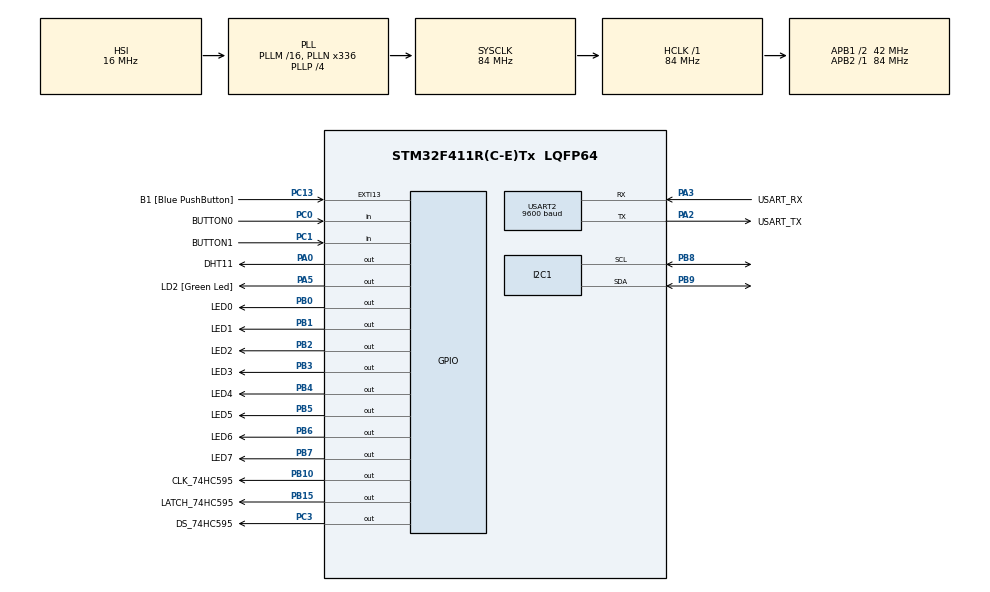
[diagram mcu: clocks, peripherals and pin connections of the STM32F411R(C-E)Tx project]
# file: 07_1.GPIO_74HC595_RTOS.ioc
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FREERTOS.Tasks01=defaultTask,24,128,StartDefaultTask,Default,NULL,Dynamic,NULL,NULL;myTask01,8,128,StartTask01,Default,NULL,Dynamic,NULL,NULL;myTask02,8,128,StartTask02,Default,NULL,Dynamic,NULL,NULL
FREERTOS.configUSE_NEWLIB_REENTRANT=1
Mcu.Family=STM32F4
Mcu.Name=STM32F411R(C-E)Tx
Mcu.Package=LQFP64
NVIC.PriorityGroup=NVIC_PRIORITYGROUP_4
NVIC.TIM1_TRG_COM_TIM11_IRQn=true\:5\:0\:false\:false\:true\:false\:false\:true
NVIC.TIM1_UP_TIM10_IRQn=true\:5\:0\:false\:false\:true\:true\:true\:true
NVIC.TimeBase=TIM1_TRG_COM_TIM11_IRQn
NVIC.TimeBaseIP=TIM11
NVIC.USART2_IRQn=true\:5\:0\:false\:false\:true\:true\:true\:true
PA0-WKUP.GPIO_Label=DHT11
PA0-WKUP.Signal=GPIO_Output
PA13.GPIO_Label=TMS
PA13.Mode=Serial_Wire
PA13.Signal=SYS_JTMS-SWDIO
PA14.GPIO_Label=TCK
PA14.Mode=Serial_Wire
PA14.Signal=SYS_JTCK-SWCLK
PA2.GPIO_Label=USART_TX
PA2.Mode=Asynchronous
PA2.Signal=USART2_TX
PA3.GPIO_Label=USART_RX
PA3.Mode=Asynchronous
PA3.Signal=USART2_RX
PA5.GPIO_Label=LD2 [Green Led]
PA5.Signal=GPIO_Output
PB0.GPIO_Label=LED0
PB0.Signal=GPIO_Output
PB1.GPIO_Label=LED1
PB1.Signal=GPIO_Output
PB10.GPIO_Label=CLK_74HC595
PB10.Signal=GPIO_Output
PB15.GPIO_Label=LATCH_74HC595
PB15.Signal=GPIO_Output
PB2.GPIO_Label=LED2
PB2.Signal=GPIO_Output
PB3.GPIO_Label=LED3
PB3.Signal=GPIO_Output
PB4.GPIO_Label=LED4
PB4.Signal=GPIO_Output
PB5.GPIO_Label=LED5
PB5.Signal=GPIO_Output
PB6.GPIO_Label=LED6
PB6.Signal=GPIO_Output
PB7.GPIO_Label=LED7
PB7.Signal=GPIO_Output
PB8.Mode=I2C
PB8.Signal=I2C1_SCL
PB9.Mode=I2C
PB9.Signal=I2C1_SDA
PC0.GPIO_Label=BUTTON0
PC0.Signal=GPIO_Input
PC1.GPIO_Label=BUTTON1
PC1.Signal=GPIO_Input
PC13-ANTI_TAMP.GPIO_Label=B1 [Blue PushButton]
PC13-ANTI_TAMP.GPIO_ModeDefaultEXTI=GPIO_MODE_IT_FALLING
PC13-ANTI_TAMP.Signal=GPXTI13
PC14-OSC32_IN.Mode=LSE-External-Oscillator
PC14-OSC32_IN.Signal=RCC_OSC32_IN
PC15-OSC32_OUT.Mode=LSE-External-Oscillator
PC15-OSC32_OUT.Signal=RCC_OSC32_OUT
PC3.GPIO_Label=DS_74HC595
PC3.Signal=GPIO_Output
PH0\ -\ OSC_IN.Mode=HSE-External-Clock-Source
PH0\ -\ OSC_IN.Signal=RCC_OSC_IN
PH1\ -\ OSC_OUT.Mode=HSE-External-Clock-Source
PH1\ -\ OSC_OUT.Signal=RCC_OSC_OUT
ProjectManager.HeapSize=0x200
ProjectManager.StackSize=0x400
ProjectManager.TargetToolchain=STM32CubeIDE
RCC.48MHZClocksFreq_Value=84000000
RCC.AHBFreq_Value=84000000
RCC.APB1CLKDivider=RCC_HCLK_DIV2
RCC.APB1Freq_Value=42000000
RCC.APB1TimFreq_Value=84000000
RCC.APB2Freq_Value=84000000
RCC.APB2TimFreq_Value=84000000
RCC.CortexFreq_Value=84000000
RCC.FLatency-AdvancedSettings=FLASH_LATENCY_2
RCC.HCLKFreq_Value=84000000
RCC.HSE_VALUE=8000000
RCC.HSI_VALUE=16000000
RCC.PLLN=336
RCC.PLLP=RCC_PLLP_DIV4
RCC.SYSCLKFreq_VALUE=84000000
RCC.SYSCLKSource=RCC_SYSCLKSOURCE_PLLCLK
RCC.VCOOutputFreq_Value=336000000
RTC.Date=8
RTC.Hours=14
RTC.Minutes=37
RTC.Month=RTC_MONTH_OCTOBER
RTC.WeekDay=RTC_WEEKDAY_TUESDAY
RTC.Year=24
TIM10.Period=1000-1
TIM10.Prescaler=84-1
TIM2.Period=4294967295
TIM2.Prescaler=84-1
USART2.BaudRate=9600
USART2.VirtualMode=VM_ASYNC
VP_FREERTOS_VS_CMSIS_V2.Mode=CMSIS_V2
VP_RTC_VS_RTC_Activate.Mode=RTC_Enabled
VP_RTC_VS_RTC_Calendar.Mode=RTC_Calendar
VP_SYS_VS_tim11.Mode=TIM11
VP_TIM10_VS_ClockSourceINT.Mode=Enable_Timer
VP_TIM2_VS_ClockSourceINT.Mode=Internal
board=NUCLEO-F411RE

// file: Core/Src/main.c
/* USER CODE BEGIN Header */
/**
  ******************************************************************************
  * @file           : main.c
  * @brief          : Main program body
  ******************************************************************************
  * @attention
  *
  * <h2><center>&copy; Copyright (c) 2024 STMicroelectronics.
  * All rights reserved.</center></h2>
  *
  * This software component is licensed by ST under BSD 3-Clause license,
  * the "License"; You may not use this file except in compliance with the
  * License. You may obtain a copy of the License at:
  *                        opensource.org/licenses/BSD-3-Clause
  *
  ******************************************************************************
  */
/* USER CODE END Header */
#include "main.h"
#include "cmsis_os.h"

I2C_HandleTypeDef hi2c1;

RTC_HandleTypeDef hrtc;

TIM_HandleTypeDef htim2;
TIM_HandleTypeDef htim10;

UART_HandleTypeDef huart2;

/* Definitions for defaultTask */
osThreadId_t defaultTaskHandle;
const osThreadAttr_t defaultTask_attributes = {
  .name = "defaultTask",
  .stack_size = 128 * 4,
  .priority = (osPriority_t) osPriorityNormal,
};
/* Definitions for myTask01 */
osThreadId_t myTask01Handle;
const osThreadAttr_t myTask01_attributes = {
  .name = "myTask01",
  .stack_size = 128 * 4,
  .priority = (osPriority_t) osPriorityLow,
};
/* Definitions for myTask02 */
osThreadId_t myTask02Handle;
const osThreadAttr_t myTask02_attributes = {
  .name = "myTask02",
  .stack_size = 128 * 4,
  .priority = (osPriority_t) osPriorityLow,
};
/* USER CODE BEGIN PV */
volatile int TIM10_1ms_counter = 0; //ADD_HAESUNG_09.30
volatile int TIM10_1ms_counter1 = 0;
volatile int TIM10_DHT11_counter = 0; // 10.08

uint8_t rx_data;
/* USER CODE END PV */

void SystemClock_Config(void);
static void MX_GPIO_Init(void);
static void MX_USART2_UART_Init(void);
static void MX_TIM10_Init(void);
static void MX_TIM2_Init(void);
static void MX_RTC_Init(void);
static void MX_I2C1_Init(void);
void StartDefaultTask(void *argument);
void StartTask01(void *argument);
void StartTask02(void *argument);

/* USER CODE BEGIN PFP */
extern void led_main(void);
extern void ledbar0_toggle(void);
//extern void button_check(void);
extern void button_up(void);
extern void button0_test(void);
extern void button1_test(void);
extern void button2_test(void);
extern void pc_command_processing(void); //10.07
extern void delay_us(unsigned int us); //10.08
extern void DHT11_main(void); //10.08
extern void DHT11_processing(void); //10.08
extern void DHT11_Init(void); //10.08
extern void get_rtc_date_time(void); //10.08
extern void i2c_lcd_main(void); //10.10
extern void i2c_lcd_init(void); //10.10
extern void dotmatrix_main_test(); //10.14
extern int dotmatrix_main_func(void); //10.14
extern void init_dotmatrix(void); //10.14
extern void dotmatrix_off(); //10.14
extern void up_arrow_display(void);
extern void down_arrow_display(void);
extern void button0_check(void);

extern void gpio_74hc595_main(void); //10.16
//extern void init_dotmatrix_arrow(void);
/* USER CODE END PFP */

/* USER CODE BEGIN 0 */
//------------ printf start -----------------------
#ifdef __GNUC__    // Add for printf
/* With GCC, small printf (option LD Linker->Libraries->Small printf
   set to 'Yes') calls __io_putchar() */
#define PUTCHAR_PROTOTYPE int __io_putchar(int ch)
#else
#define PUTCHAR_PROTOTYPE int fputc(int ch, FILE *f)
#endif /* __GNUC__ */
/**
  * @brief  Retargets the C library printf function to the USART.
  * @param  None
  * @retval None
  */
PUTCHAR_PROTOTYPE   // Add for printf
{
  /* Place your implementation of fputc here */
  /* e.g. write a character to the USART2 and Loop until the end of transmission */
  HAL_UART_Transmit(&huart2, (uint8_t *)&ch, 1, 0xFFFF);

  return ch;
}
//-------------------- printf end --------------------
/* USER CODE END 0 */

int main(void)
{

  /* MCU Configuration--------------------------------------------------------*/

  /* Reset of all peripherals, Initializes the Flash interface and the Systick. */
  HAL_Init();

  /* Configure the system clock */
  SystemClock_Config();

  /* Initialize all configured peripherals */
  MX_GPIO_Init();
  MX_USART2_UART_Init();
  MX_TIM10_Init();
  MX_TIM2_Init();
  MX_RTC_Init();
  MX_I2C1_Init();
  /* USER CODE BEGIN 2 */
  HAL_TIM_Base_Start_IT(&htim10); //ADD_HAESUNG_0930
  HAL_TIM_Base_Start_IT(&htim2); //ADD_HAESUNG_1008
  HAL_UART_Receive_IT(&huart2, &rx_data, 1); //ADD_HAESUNG_1007
  DHT11_Init();
  i2c_lcd_init();
  //dotmatrix_off();
  //init_dotmatrix();
  //init_dotmatrix_arrow();
  //printf("HAL_TIM_Base_Start_IT !!!!\n");
  //DHT11_main(); //10.08
  //led_main();
  //dotmatrix_main_test();
  //i2c_lcd_main();
  //gpio_74hc595_main();
  dotmatrix_main_test();
  /* USER CODE END 2 */

  /* Init scheduler */
  osKernelInitialize();

  /* Create the thread(s) */
  /* creation of defaultTask */
  defaultTaskHandle = osThreadNew(StartDefaultTask, NULL, &defaultTask_attributes);

  /* creation of myTask01 */
  myTask01Handle = osThreadNew(StartTask01, NULL, &myTask01_attributes);

  /* creation of myTask02 */
  myTask02Handle = osThreadNew(StartTask02, NULL, &myTask02_attributes);

  /* Start scheduler */
  osKernelStart();

  /* We should never get here as control is now taken by the scheduler */
  /* Infinite loop */
  /* USER CODE BEGIN WHILE */
  while (1)
  {
	  // none-OS loop monitor
	  HAL_GPIO_TogglePin(GPIOA, GPIO_PIN_5);
	  HAL_Delay(500);
    /* USER CODE END WHILE */

  }
}

void SystemClock_Config(void)
{
  RCC_OscInitTypeDef RCC_OscInitStruct = {0};
  RCC_ClkInitTypeDef RCC_ClkInitStruct = {0};

  /** Configure the main internal regulator output voltage
  */
  __HAL_RCC_PWR_CLK_ENABLE();
  __HAL_PWR_VOLTAGESCALING_CONFIG(PWR_REGULATOR_VOLTAGE_SCALE1);
  /** Initializes the RCC Oscillators according to the specified parameters
  * in the RCC_OscInitTypeDef structure.
  */
  RCC_OscInitStruct.OscillatorType = RCC_OSCILLATORTYPE_HSI|RCC_OSCILLATORTYPE_LSI;
  RCC_OscInitStruct.HSIState = RCC_HSI_ON;
  RCC_OscInitStruct.HSICalibrationValue = RCC_HSICALIBRATION_DEFAULT;
  RCC_OscInitStruct.LSIState = RCC_LSI_ON;
  RCC_OscInitStruct.PLL.PLLState = RCC_PLL_ON;
  RCC_OscInitStruct.PLL.PLLSource = RCC_PLLSOURCE_HSI;
  RCC_OscInitStruct.PLL.PLLM = 16;
  RCC_OscInitStruct.PLL.PLLN = 336;
  RCC_OscInitStruct.PLL.PLLP = RCC_PLLP_DIV4;
  RCC_OscInitStruct.PLL.PLLQ = 4;
  if (HAL_RCC_OscConfig(&RCC_OscInitStruct) != HAL_OK)
  {
    Error_Handler();
  }
  /** Initializes the CPU, AHB and APB buses clocks
  */
  RCC_ClkInitStruct.ClockType = RCC_CLOCKTYPE_HCLK|RCC_CLOCKTYPE_SYSCLK
                              |RCC_CLOCKTYPE_PCLK1|RCC_CLOCKTYPE_PCLK2;
  RCC_ClkInitStruct.SYSCLKSource = RCC_SYSCLKSOURCE_PLLCLK;
  RCC_ClkInitStruct.AHBCLKDivider = RCC_SYSCLK_DIV1;
  RCC_ClkInitStruct.APB1CLKDivider = RCC_HCLK_DIV2;
  RCC_ClkInitStruct.APB2CLKDivider = RCC_HCLK_DIV1;

  if (HAL_RCC_ClockConfig(&RCC_ClkInitStruct, FLASH_LATENCY_2) != HAL_OK)
  {
    Error_Handler();
  }
}

static void MX_I2C1_Init(void)
{

  hi2c1.Instance = I2C1;
  hi2c1.Init.ClockSpeed = 100000;
  hi2c1.Init.DutyCycle = I2C_DUTYCYCLE_2;
  hi2c1.Init.OwnAddress1 = 0;
  hi2c1.Init.AddressingMode = I2C_ADDRESSINGMODE_7BIT;
  hi2c1.Init.DualAddressMode = I2C_DUALADDRESS_DISABLE;
  hi2c1.Init.OwnAddress2 = 0;
  hi2c1.Init.GeneralCallMode = I2C_GENERALCALL_DISABLE;
  hi2c1.Init.NoStretchMode = I2C_NOSTRETCH_DISABLE;
  if (HAL_I2C_Init(&hi2c1) != HAL_OK)
  {
    Error_Handler();
  }

}

static void MX_RTC_Init(void)
{

  RTC_TimeTypeDef sTime = {0};
  RTC_DateTypeDef sDate = {0};

  /** Initialize RTC Only
  */
  hrtc.Instance = RTC;
  hrtc.Init.HourFormat = RTC_HOURFORMAT_24;
  hrtc.Init.AsynchPrediv = 127;
  hrtc.Init.SynchPrediv = 255;
  hrtc.Init.OutPut = RTC_OUTPUT_DISABLE;
  hrtc.Init.OutPutPolarity = RTC_OUTPUT_POLARITY_HIGH;
  hrtc.Init.OutPutType = RTC_OUTPUT_TYPE_OPENDRAIN;
  if (HAL_RTC_Init(&hrtc) != HAL_OK)
  {
    Error_Handler();
  }

  /** Initialize RTC and set the Time and Date
  */
  sTime.Hours = 0x14;
  sTime.Minutes = 0x37;
  sTime.Seconds = 0x0;
  sTime.DayLightSaving = RTC_DAYLIGHTSAVING_NONE;
  sTime.StoreOperation = RTC_STOREOPERATION_RESET;
  if (HAL_RTC_SetTime(&hrtc, &sTime, RTC_FORMAT_BCD) != HAL_OK)
  {
    Error_Handler();
  }
  sDate.WeekDay = RTC_WEEKDAY_TUESDAY;
  sDate.Month = RTC_MONTH_OCTOBER;
  sDate.Date = 0x8;
  sDate.Year = 0x24;

  if (HAL_RTC_SetDate(&hrtc, &sDate, RTC_FORMAT_BCD) != HAL_OK)
  {
    Error_Handler();
  }

}

static void MX_TIM2_Init(void)
{

  TIM_ClockConfigTypeDef sClockSourceConfig = {0};
  TIM_MasterConfigTypeDef sMasterConfig = {0};

  htim2.Instance = TIM2;
  htim2.Init.Prescaler = 84-1;
  htim2.Init.CounterMode = TIM_COUNTERMODE_UP;
  htim2.Init.Period = 4294967295;
  htim2.Init.ClockDivision = TIM_CLOCKDIVISION_DIV1;
  htim2.Init.AutoReloadPreload = TIM_AUTORELOAD_PRELOAD_DISABLE;
  if (HAL_TIM_Base_Init(&htim2) != HAL_OK)
  {
    Error_Handler();
  }
  sClockSourceConfig.ClockSource = TIM_CLOCKSOURCE_INTERNAL;
  if (HAL_TIM_ConfigClockSource(&htim2, &sClockSourceConfig) != HAL_OK)
  {
    Error_Handler();
  }
  sMasterConfig.MasterOutputTrigger = TIM_TRGO_RESET;
  sMasterConfig.MasterSlaveMode = TIM_MASTERSLAVEMODE_DISABLE;
  if (HAL_TIMEx_MasterConfigSynchronization(&htim2, &sMasterConfig) != HAL_OK)
  {
    Error_Handler();
  }

}

static void MX_TIM10_Init(void)
{

  htim10.Instance = TIM10;
  htim10.Init.Prescaler = 84-1;
  htim10.Init.CounterMode = TIM_COUNTERMODE_UP;
  htim10.Init.Period = 1000-1;
  htim10.Init.ClockDivision = TIM_CLOCKDIVISION_DIV1;
  htim10.Init.AutoReloadPreload = TIM_AUTORELOAD_PRELOAD_DISABLE;
  if (HAL_TIM_Base_Init(&htim10) != HAL_OK)
  {
    Error_Handler();
  }

}

static void MX_USART2_UART_Init(void)
{

  huart2.Instance = USART2;
  huart2.Init.BaudRate = 9600;
  huart2.Init.WordLength = UART_WORDLENGTH_8B;
  huart2.Init.StopBits = UART_STOPBITS_1;
  huart2.Init.Parity = UART_PARITY_NONE;
  huart2.Init.Mode = UART_MODE_TX_RX;
  huart2.Init.HwFlowCtl = UART_HWCONTROL_NONE;
  huart2.Init.OverSampling = UART_OVERSAMPLING_16;
  if (HAL_UART_Init(&huart2) != HAL_OK)
  {
    Error_Handler();
  }

}

static void MX_GPIO_Init(void)
{
  GPIO_InitTypeDef GPIO_InitStruct = {0};

  /* GPIO Ports Clock Enable */
  __HAL_RCC_GPIOC_CLK_ENABLE();
  __HAL_RCC_GPIOH_CLK_ENABLE();
  __HAL_RCC_GPIOA_CLK_ENABLE();
  __HAL_RCC_GPIOB_CLK_ENABLE();

  /*Configure GPIO pin Output Level */
  HAL_GPIO_WritePin(DS_74HC595_GPIO_Port, DS_74HC595_Pin, GPIO_PIN_RESET);

  /*Configure GPIO pin Output Level */
  HAL_GPIO_WritePin(GPIOA, DHT11_Pin|LD2_Pin, GPIO_PIN_RESET);

  /*Configure GPIO pin Output Level */
  HAL_GPIO_WritePin(GPIOB, LED0_Pin|LED1_Pin|LED2_Pin|CLK_74HC595_Pin
                          |LATCH_74HC595_Pin|LED3_Pin|LED4_Pin|LED5_Pin
                          |LED6_Pin|LED7_Pin, GPIO_PIN_RESET);

  /*Configure GPIO pin : B1_Pin */
  GPIO_InitStruct.Pin = B1_Pin;
  GPIO_InitStruct.Mode = GPIO_MODE_IT_FALLING;
  GPIO_InitStruct.Pull = GPIO_NOPULL;
  HAL_GPIO_Init(B1_GPIO_Port, &GPIO_InitStruct);

  /*Configure GPIO pins : BUTTON0_Pin BUTTON1_Pin */
  GPIO_InitStruct.Pin = BUTTON0_Pin|BUTTON1_Pin;
  GPIO_InitStruct.Mode = GPIO_MODE_INPUT;
  GPIO_InitStruct.Pull = GPIO_NOPULL;
  HAL_GPIO_Init(GPIOC, &GPIO_InitStruct);

  /*Configure GPIO pin : DS_74HC595_Pin */
  GPIO_InitStruct.Pin = DS_74HC595_Pin;
  GPIO_InitStruct.Mode = GPIO_MODE_OUTPUT_PP;
  GPIO_InitStruct.Pull = GPIO_NOPULL;
  GPIO_InitStruct.Speed = GPIO_SPEED_FREQ_LOW;
  HAL_GPIO_Init(DS_74HC595_GPIO_Port, &GPIO_InitStruct);

  /*Configure GPIO pins : DHT11_Pin LD2_Pin */
  GPIO_InitStruct.Pin = DHT11_Pin|LD2_Pin;
  GPIO_InitStruct.Mode = GPIO_MODE_OUTPUT_PP;
  GPIO_InitStruct.Pull = GPIO_NOPULL;
  GPIO_InitStruct.Speed = GPIO_SPEED_FREQ_LOW;
  HAL_GPIO_Init(GPIOA, &GPIO_InitStruct);

  /*Configure GPIO pins : LED0_Pin LED1_Pin LED2_Pin CLK_74HC595_Pin
                           LATCH_74HC595_Pin LED3_Pin LED4_Pin LED5_Pin
                           LED6_Pin LED7_Pin */
  GPIO_InitStruct.Pin = LED0_Pin|LED1_Pin|LED2_Pin|CLK_74HC595_Pin
                          |LATCH_74HC595_Pin|LED3_Pin|LED4_Pin|LED5_Pin
                          |LED6_Pin|LED7_Pin;
  GPIO_InitStruct.Mode = GPIO_MODE_OUTPUT_PP;
  GPIO_InitStruct.Pull = GPIO_NOPULL;
  GPIO_InitStruct.Speed = GPIO_SPEED_FREQ_LOW;
  HAL_GPIO_Init(GPIOB, &GPIO_InitStruct);

}

void StartDefaultTask(void *argument)
{
  /* USER CODE BEGIN 5 */
  /* Infinite loop */
  for(;;)
  {

	//led_main();
	//button0_test();
	 //button0_check();
	//dotmatrix_off();
    osDelay(1);

  }
  /* USER CODE END 5 */
}

void StartTask01(void *argument)
{
  /* USER CODE BEGIN StartTask01 */
  /* Infinite loop */
  for(;;)
  {

	  //DHT11_processing();
	  //get_rtc_date_time();
	  //dotmatrix_main_func();
	  //up_arrow_display();

	  osDelay(1);
	  //	  HAL_GPIO_TogglePin(GPIOA, GPIO_PIN_5);
	  //	  delay_us(50000); //50ms
	  //button1_test();
	  //ledbar0_toggle();
	  //osDelay(200);
  }
  /* USER CODE END StartTask01 */
}

void StartTask02(void *argument)
{
  /* USER CODE BEGIN StartTask02 */
  /* Infinite loop */
  for(;;)
  {

//
//	  if(TIM10_1ms_counter >= 50)
//	  {
//		  TIM10_1ms_counter = 0 ;
//		  HAL_GPIO_TogglePin(GPIOA, GPIO_PIN_5);
//	  }
//	  //button2_test();
	 // pc_command_processing();

	  //down_arrow_display();
	  osDelay(1);
	  //HAL_GPIO_TogglePin(GPIOA, GPIO_PIN_5);
	  //osDelay(100);
  }

  /* USER CODE END StartTask02 */
}

void HAL_TIM_PeriodElapsedCallback(TIM_HandleTypeDef *htim)
{
  if (htim->Instance == TIM11) {
    HAL_IncTick();
  }
  /* USER CODE BEGIN Callback 1 */
  if (htim->Instance == TIM10) {
	  TIM10_1ms_counter++; //ADD_HAESUNG_0930
	  TIM10_1ms_counter1++;
	  TIM10_DHT11_counter++;
  }

  /* USER CODE END Callback 1 */
}

void Error_Handler(void)
{
  __disable_irq();
  while (1)
  {
  }
}

/************************ (C) COPYRIGHT STMicroelectronics *****END OF FILE****/
